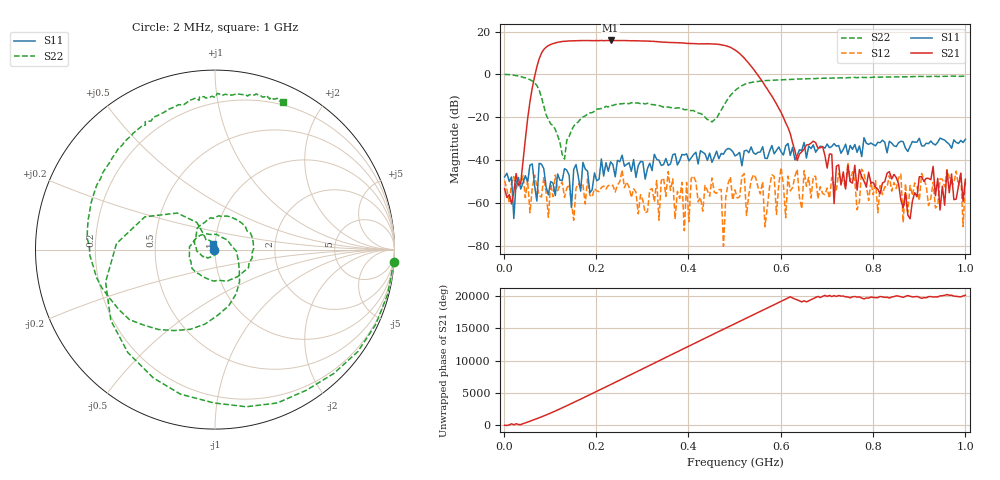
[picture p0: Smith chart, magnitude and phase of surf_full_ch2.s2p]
!Keysight Technologies N9923A: A.12.45
!Date: Tuesday, 28 October 2025 00:07:49
!Timezone: (UTC+08:00) Kuala Lumpur, Singapore
!Model: N9923A
!Serial: MY61181427
!GPS Latitude:
!GPS Longitude:
!GPS TimeStamp: 0001-01-01 00:00:00Z
!GPS Seconds Since Last Read: 0
!CHECKSUM:1690517983
!Correction: S11(ON U)S21(ON U)S12(ON U)S22(ON U)
!S2P File: Measurements:S11,S21,S12,S22:
# Hz S DB R 50
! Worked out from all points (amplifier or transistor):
!   201 points, 2 MHz to 1 GHz, reference 50 ohm
!   highest |S21| = 15.8 dB at 231.5 MHz (marker M1)
!   |S21| within 3 dB of that: 92.77 MHz to 488.5 MHz (395.7 MHz wide, 136 % of centre)
!   unconditionally stable (mu >= 1): start of sweep to end of sweep
!   at 166.7 MHz: K = 35.44, MAG = 15.8 dB, |S12| = -52.8 dB
!   at 501 MHz: K = 55.32, MAG = 12.2 dB, |S12| = -53.9 dB
!   at 1 GHz: K = 8142.67, MAG = -41.5 dB, |S12| = -50.2 dB
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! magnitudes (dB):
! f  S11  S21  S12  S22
! 2 MHz  -47.9  -53.3  -49.6  0.0
! 36.93 MHz  -53.5  -50.6  -51.2  -1.0
! 81.84 MHz  -41.9  9.9  -57.2  -10.7
! 131.7 MHz  -44.0  15.4  -57.4  -39.5
! 171.7 MHz  -41.0  15.8  -51.5  -19.8
! 231.5 MHz  -40.8  15.8  -51.5  -14.4
! 336.3 MHz  -40.0  15.2  -68.0  -14.5
! 451.1 MHz  -41.0  14.2  -48.3  -22.2
! 471.1 MHz  -36.9  13.8  -53.7  -16.7
! 476.1 MHz  -37.3  13.6  -80.1  -14.8
! 501 MHz  -38.0  11.4  -53.9  -7.6
! 565.9 MHz  -39.1  -5.3  -71.1  -2.9
! 580.8 MHz  -33.2  -10.1  -46.8  -2.7
! 670.7 MHz  -32.9  -31.2  -47.5  -1.9
! 710.6 MHz  -33.6  -37.3  -48.1  -1.7
! 715.6 MHz  -32.3  -60.2  -52.3  -1.7
! 835.3 MHz  -31.2  -45.3  -47.2  -1.3
! 865.3 MHz  -31.4  -62.3  -69.0  -1.1
! 960.1 MHz  -31.7  -44.7  -44.5  -0.9
! 990 MHz  -30.8  -46.1  -46.4  -0.9
! 995 MHz  -31.8  -59.2  -71.0  -0.8
! 1 GHz  -30.3  -48.9  -50.2  -0.9
